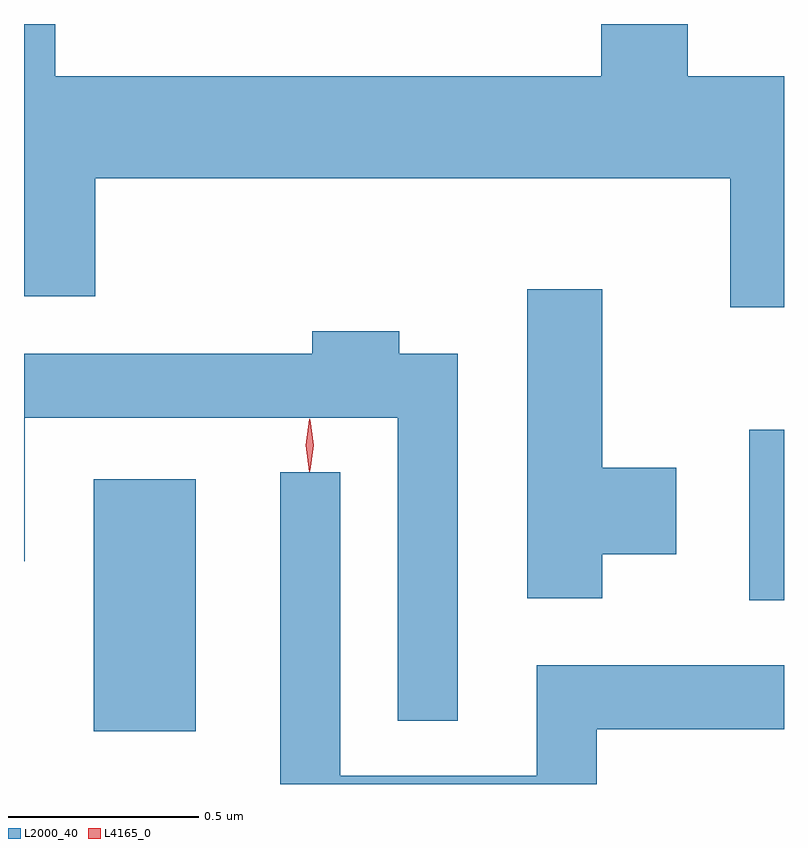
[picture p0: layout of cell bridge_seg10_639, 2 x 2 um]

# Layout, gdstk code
import gdstk
lib = gdstk.Library(unit=1e-6, precision=1e-09)
def R(c, l, rs):  # rectangles x0, y0, x1, y1
    for r in rs: c.add(gdstk.rectangle(r[:2], r[2:], *l))
def P(c, l, *ps):  # polygons
    for p in ps: c.add(gdstk.Polygon(p, *l))
L2000_40 = (2000, 40)
L4165_0 = (4165, 0)

bridge_seg10_639 = lib.new_cell('bridge_seg10_639')
R(bridge_seg10_639, L2000_40, [(837.976,2136.881,838.244,2137.544), (839.701,2137.226,839.792,2137.674)])
P(bridge_seg10_639, L2000_40, [(839.792,2138.604),(839.539,2138.604),(839.539,2138.742),(839.311,2138.742),(839.311,2138.604),(837.874,2138.604),(837.874,2138.742),(837.792,2138.742),(837.792,2138.026),(837.979,2138.026),(837.979,2138.336),(839.651,2138.336),(839.651,2137.996),(839.792,2137.996)],
  [(839.314,2137.346),(839.509,2137.346),(839.509,2137.574),(839.314,2137.574),(839.314,2138.044),(839.116,2138.044),(839.116,2137.231),(839.314,2137.231)],
  [(838.934,2137.874),(838.779,2137.874),(838.779,2137.934),(838.551,2137.934),(838.551,2137.874),(837.792,2137.874),(837.792,2137.328),(837.794,2137.328),(837.794,2137.706),(838.776,2137.706),(838.776,2136.908),(838.934,2136.908)],
  [(839.299,2136.886),(839.792,2136.886),(839.792,2137.054),(839.141,2137.054),(839.141,2136.764),(838.624,2136.764),(838.624,2137.563),(838.466,2137.563),(838.466,2136.742),(839.299,2136.742)])
P(bridge_seg10_639, L4165_0, [(838.543,2137.564),(838.534,2137.633),(838.543,2137.702),(838.544,2137.703),(838.544,2137.702),(838.554,2137.633),(838.544,2137.564),(838.544,2137.564)],
  [(838.544,2137.567),(838.544,2137.568),(838.534,2137.634),(838.544,2137.7),(838.544,2137.7),(838.545,2137.7),(838.554,2137.634),(838.545,2137.568)])

lib.write_gds('bridge_seg10_639.gds')
